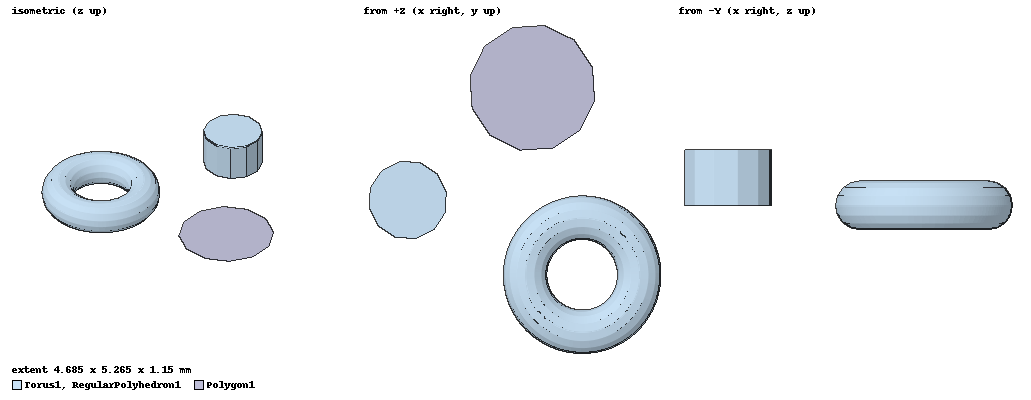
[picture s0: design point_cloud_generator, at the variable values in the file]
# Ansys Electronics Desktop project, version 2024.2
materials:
  vacuum: permittivity=1
  pec: conductivity=1e+30

design point_cloud_generator (HFSS, SBR+, model units mm)
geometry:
  RegularPolyhedron1 [vacuum] = polyhedron(axis=Z, centre=(-1.8mm, 0.6mm, 0mm), first_corner=(-1.2mm, 0.4mm, 0mm), sides=12, height=0.8mm)
  Torus1 [vacuum] = torus(axis=Z, centre=(1mm, -0.6mm, 0mm), major_radius=0.91529824mm, minor_radius=0.34961282mm)
  Polygon1 = regular_polygon(axis=Z, centre=(0.2mm, 2.4mm, 0mm), first_corner=(1.2mm, 2.2mm, 0mm), sides=12)
